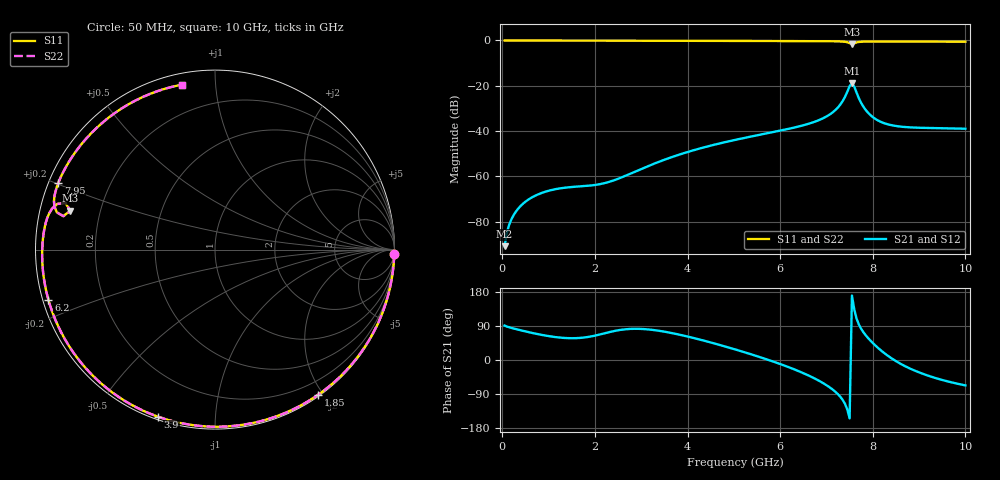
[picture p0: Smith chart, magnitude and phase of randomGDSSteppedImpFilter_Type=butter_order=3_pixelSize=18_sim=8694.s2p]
! freq	dB(S11)	phase(S11)	dB(S12)	phase(S12)
!  dB(S21)	phase(S21)	dB(S22)	phase(S22)
!S-par simulation data
#  GHz  S  DB  R 50
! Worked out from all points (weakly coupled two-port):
!   200 points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, 50 MHz to 10 GHz, reference 50 ohm
!   highest |S21| = -18.90 dB at 7.55 GHz (marker M1); lowest = -90.8 dB at 50 MHz (marker M2)
!   lowest |S11| = -1.6 dB at 7.55 GHz (marker M3), VSWR 11.05, Z = 4.6 + j6.57 ohm
!   |S11| at or under -10 dB: nowhere
!   |S22| runs from -1.6 to 0.0 dB; largest |S21 - S12| = 0
!   S11 on the Smith chart (normalised r, x): 50 MHz: 1, -78; 1.85 GHz: 0.02, -1.93; 3.9 GHz: 0.01, -0.72; 6.2 GHz: 0.02, -0.15; 7.95 GHz: 0.03, +0.20; 10 GHz: 0.05, +0.82
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0.05  -0.00 -1.5  -90.82 90.9  -90.82 90.9  -0.00 -1.5
0.15  -0.01 -4.5  -81.28 86.3  -81.28 86.3  -0.01 -4.5
0.4  -0.02 -12.1  -72.98 78.3  -72.98 78.3  -0.02 -12.1
0.75  -0.03 -22.6  -68.16 68.7  -68.16 68.7  -0.03 -22.6
1.15  -0.04 -34.5  -65.65 60.4  -65.65 60.4  -0.04 -34.5
1.75  -0.07 -51.8  -64.32 59.1  -64.32 59.1  -0.07 -51.8
1.85  -0.07 -54.7  -64.15 60.8  -64.15 60.8  -0.07 -54.7
2.4  -0.09 -69.9  -61.82 76.0  -61.82 76.0  -0.09 -69.9
3.4  -0.12 -96.3  -53.43 76.8  -53.43 76.8  -0.12 -96.2
3.9  -0.14 -108.8  -49.88 64.8  -49.88 64.8  -0.14 -108.8
5.05  -0.20 -136.4  -43.80 27.1  -43.80 27.1  -0.20 -136.4
6.2  -0.27 -163.3  -38.95 -19.7  -38.95 -19.7  -0.27 -163.3
6.7  -0.31 -175.1  -36.22 -46.0  -36.22 -46.0  -0.31 -175.1
7.2  -0.39 172.1  -30.58 -84.8  -30.58 -84.8  -0.39 172.1
7.35  -0.49 167.5  -26.76 -105.4  -26.76 -105.4  -0.49 167.5
7.45  -0.77 163.9  -22.65 -130.6  -22.65 -130.6  -0.78 163.9
7.55  -1.58 164.9  -18.90 170.2  -18.90 170.2  -1.59 164.9
7.75  -0.56 163.2  -27.61 82.1  -27.61 82.1  -0.56 163.2
7.95  -0.46 157.1  -32.97 51.1  -32.97 51.1  -0.46 157.1
8.35  -0.45 146.4  -37.16 9.0  -37.16 9.0  -0.45 146.4
9.25  -0.51 122.3  -38.66 -43.6  -38.66 -43.6  -0.51 122.4
10  -0.56 101.3  -38.97 -67.1  -38.97 -67.1  -0.56 101.3
